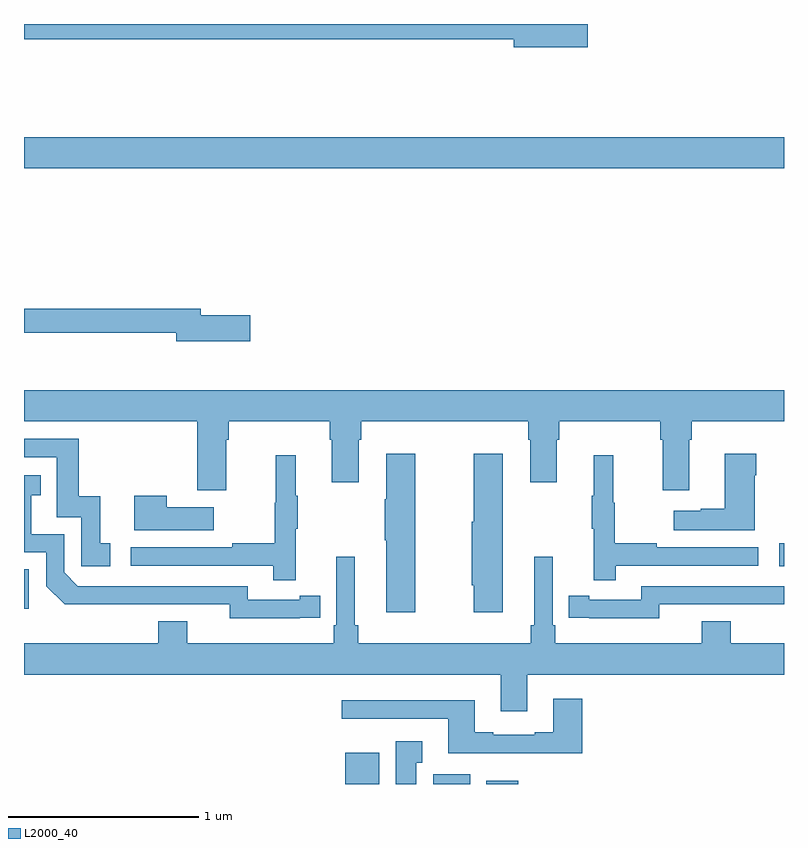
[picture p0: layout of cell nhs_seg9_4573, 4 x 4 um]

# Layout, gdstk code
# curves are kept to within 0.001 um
import gdstk
lib = gdstk.Library(unit=1e-6, precision=1e-09)
def R(c, l, rs):  # rectangles x0, y0, x1, y1
    for r in rs: c.add(gdstk.rectangle(r[:2], r[2:], *l))
def P(c, l, *ps):  # polygons
    for p in ps: c.add(gdstk.Polygon(p, *l))
L2000_40 = (2000, 40)

nhs_seg9_4573 = lib.new_cell('nhs_seg9_4573')
R(nhs_seg9_4573, L2000_40, [(374.69,1206.5,374.869,1206.664), (375.153,1206.5,375.349,1206.552), (375.434,1206.5,375.601,1206.517), (373,1207.422,373.026,1207.629), (376.974,1207.647,377,1207.767), (373,1209.74,377,1209.904)])
P(nhs_seg9_4573, L2000_40, [(375.967,1210.5),(373,1210.5),(373,1210.42),(375.578,1210.42),(375.578,1210.378),(375.967,1210.378)],
  [(374.191,1208.966),(373.93,1208.966),(373.93,1209.002),(373,1209.002),(373,1208.874),(373.802,1208.874),(373.802,1208.831),(374.191,1208.831)],
  [(374.065,1208.312),(374.078,1208.312),(374.078,1208.408),(374.609,1208.408),(374.609,1208.312),(374.621,1208.312),(374.621,1208.088),(374.761,1208.088),(374.761,1208.312),(374.774,1208.312),(374.774,1208.408),(375.653,1208.408),(375.653,1208.312),(375.665,1208.312),(375.665,1208.088),(375.805,1208.088),(375.805,1208.312),(375.818,1208.312),(375.818,1208.408),(376.349,1208.408),(376.349,1208.312),(376.361,1208.312),(376.361,1208.046),(376.501,1208.046),(376.501,1208.312),(376.514,1208.312),(376.514,1208.408),(377,1208.408),(377,1208.572),(373,1208.572),(373,1208.408),(373.913,1208.408),(373.913,1208.046),(374.065,1208.046)],
  [(373.453,1207.767),(373.4,1207.767),(373.4,1208.014),(373.289,1208.014),(373.289,1208.316),(373,1208.316),(373,1208.22),(373.173,1208.22),(373.173,1207.905),(373.302,1207.905),(373.302,1207.647),(373.453,1207.647)],
  [(376.846,1208.126),(376.854,1208.126),(376.854,1208.239),(376.688,1208.239),(376.688,1207.949),(376.562,1207.949),(376.562,1207.939),(376.419,1207.939),(376.419,1207.835),(376.846,1207.835)],
  [(375.06,1208.239),(374.906,1208.239),(374.906,1208),(374.899,1208),(374.899,1207.783),(374.906,1207.783),(374.906,1207.404),(375.06,1207.404)],
  [(375.52,1208.239),(375.367,1208.239),(375.367,1207.881),(375.356,1207.881),(375.356,1207.545),(375.367,1207.545),(375.367,1207.404),(375.52,1207.404)],
  [(374.429,1207.843),(374.44,1207.843),(374.44,1208.017),(374.429,1208.017),(374.429,1208.23),(374.326,1208.23),(374.326,1207.98),(374.319,1207.98),(374.319,1207.766),(374.095,1207.766),(374.095,1207.746),(373.563,1207.746),(373.563,1207.65),(374.311,1207.65),(374.311,1207.572),(374.429,1207.572)],
  [(376.115,1207.65),(376.864,1207.65),(376.864,1207.746),(376.331,1207.746),(376.331,1207.766),(376.108,1207.766),(376.108,1207.98),(376.1,1207.98),(376.1,1208.23),(375.998,1208.23),(375.998,1208.017),(375.987,1208.017),(375.987,1207.843),(375.998,1207.843),(375.998,1207.572),(376.115,1207.572)],
  [(374.45,1207.374),(374.558,1207.374),(374.558,1207.49),(374.45,1207.49),(374.45,1207.47),(374.178,1207.47),(374.178,1207.542),(373.284,1207.542),(373.212,1207.614),(373.212,1207.815),(373.039,1207.815),(373.039,1208.019),(373.088,1208.019),(373.088,1208.125),(373,1208.125),(373,1207.719),(373.116,1207.719),(373.116,1207.542),(373.214,1207.445),(374.082,1207.446),(374.082,1207.373)],
  [(373.999,1207.957),(373.751,1207.957),(373.751,1208.017),(373.58,1208.017),(373.58,1207.835),(373.999,1207.835)],
  [(375.649,1207.076),(377,1207.076),(377,1207.24),(376.721,1207.24),(376.721,1207.357),(376.568,1207.357),(376.568,1207.24),(375.797,1207.24),(375.797,1207.336),(375.783,1207.336),(375.783,1207.696),(375.686,1207.696),(375.686,1207.336),(375.667,1207.336),(375.667,1207.24),(374.759,1207.24),(374.759,1207.336),(374.74,1207.336),(374.74,1207.696),(374.643,1207.696),(374.643,1207.336),(374.63,1207.336),(374.63,1207.24),(373.858,1207.24),(373.858,1207.357),(373.706,1207.357),(373.706,1207.24),(373,1207.24),(373,1207.076),(375.509,1207.076),(375.509,1206.882),(375.649,1206.882)],
  [(376.344,1207.446),(376.804,1207.446),(376.804,1207.445),(377,1207.445),(377,1207.542),(376.248,1207.542),(376.248,1207.47),(375.976,1207.47),(375.976,1207.49),(375.868,1207.49),(375.868,1207.374),(375.976,1207.374),(375.976,1207.373),(376.344,1207.373)],
  [(375.938,1206.949),(375.785,1206.949),(375.785,1206.772),(375.689,1206.772),(375.689,1206.759),(375.469,1206.759),(375.469,1206.772),(375.373,1206.772),(375.373,1206.94),(374.673,1206.94),(374.673,1206.843),(375.233,1206.843),(375.233,1206.662),(375.938,1206.662)],
  [(375.064,1206.611),(375.097,1206.611),(375.097,1206.724),(374.957,1206.724),(374.957,1206.5),(375.064,1206.5)])

lib.write_gds('nhs_seg9_4573.gds')
